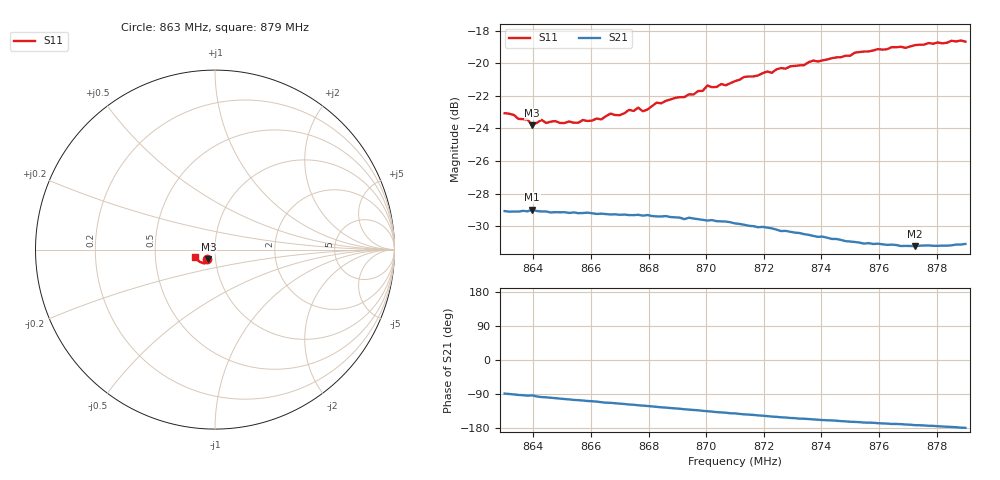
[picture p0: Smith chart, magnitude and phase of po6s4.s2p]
# HZ S RI R 50
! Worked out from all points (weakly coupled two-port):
!   101 points, 863 MHz to 879 MHz, reference 50 ohm
!   highest |S21| = -28.98 dB at 863.96 MHz (marker M1); lowest = -31.2 dB at 877.24 MHz (marker M2)
!   lowest |S11| = -23.8 dB at 863.96 MHz (marker M3), VSWR 1.14, Z = 46.2 - j4.93 ohm
!   |S11| at or under -10 dB: start of sweep to end of sweep
!   S12 and S22 are empty: the file has one direction only
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8.63e8  -0.0447 -0.0542  0.000836 -0.0352  0 0  0 0
8.638e8  -0.0416 -0.0527  -0.00254 -0.035  0 0  0 0
8.6396e8  -0.0367 -0.0531  -0.00207 -0.0355  0 0  0 0
8.6428e8  -0.0382 -0.0552  -0.00481 -0.0348  0 0  0 0
8.6444e8  -0.0377 -0.0537  -0.00515 -0.0347  0 0  0 0
8.6572e8  -0.0346 -0.0573  -0.0101 -0.0332  0 0  0 0
8.6636e8  -0.0352 -0.0573  -0.0126 -0.0322  0 0  0 0
8.6668e8  -0.0351 -0.0607  -0.0134 -0.0316  0 0  0 0
8.67e8  -0.0332 -0.0608  -0.0146 -0.031  0 0  0 0
8.6764e8  -0.0356 -0.0638  -0.0169 -0.0298  0 0  0 0
8.678e8  -0.0341 -0.0626  -0.0172 -0.0294  0 0  0 0
8.6828e8  -0.0361 -0.0665  -0.0188 -0.0282  0 0  0 0
8.6844e8  -0.0363 -0.0661  -0.0194 -0.0278  0 0  0 0
8.6956e8  -0.0404 -0.0693  -0.0223 -0.0249  0 0  0 0
8.6988e8  -0.0417 -0.071  -0.023 -0.0237  0 0  0 0
8.7004e8  -0.044 -0.0733  -0.0233 -0.0232  0 0  0 0
8.7036e8  -0.044 -0.0723  -0.0242 -0.0221  0 0  0 0
8.71e8  -0.0484 -0.0737  -0.025 -0.0203  0 0  0 0
8.7372e8  -0.0687 -0.0754  -0.0271 -0.0116  0 0  0 0
8.7644e8  -0.093 -0.0626  -0.0272 -0.00538  0 0  0 0
8.7724e8  -0.0989 -0.0562  -0.0272 -0.00386  0 0  0 0
8.79e8  -0.1098 -0.0393  -0.0279 -0.00046  0 0  0 0
